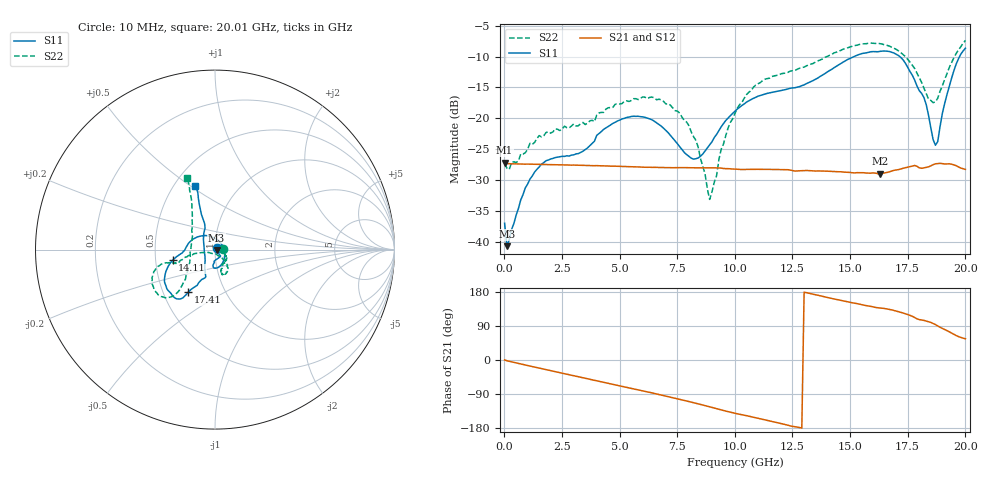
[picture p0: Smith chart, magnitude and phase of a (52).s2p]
! Hittite Microwave Corporation
! 2 Elizabeth Drive
! Chelmsford, MA 01824
! http://www.hittite.com
! Tel: 978-250-3343
! Fax: 978-250-3373
! Device:  HMC424LP3
! Description: 0.5 dB GaAs MMIC 6-Bit Digital Attenuator
! Frequency:  DC -  13.00 GHz
! Package:  LP3  - 3x3 mm Quad Flatpack No-Lead (QFN) Plastic Package: 16 pin
! Ports:  2 RF, 7 DC
!  Pad  1  = Ground
!  Pad  2  = RF IN  =  Port 1
!  Pad  3  = Ground
!  Pad  4  = V6
!  Pad  5  = V5
!  Pad  6  = V4
!  Pad  7  = V3
!  Pad  8  = V2
!  Pad  9  = V1
!  Pad 10  = Ground
!  Pad 11  = RF OUT  = Port 2
!  Pad 12  = Ground
!  Pad 15  = VEE
! Control:  -5 Volt control voltage
! State:  50
! Attenuation:  25.0 dB
! Voltages:  Vdd = -5.00 Volts  Idd =  -2.390 mA
!  V1  = 0.00 Volts  I1  =  29.0 uA
!  V2  = -5.00 Volts  I2  =  -1.0 uA
!  V3  = 0.00 Volts  I3  =  30.0 uA
!  V4  = 0.00 Volts  I4  =  30.0 uA
!  V5  = -5.00 Volts  I5  =  -1.0 uA
!  V6  = -5.00 Volts  I6  =  -1.0 uA
! Data:  The device was measured on evaluation board 105354-1.
!  Data was collected using a calibrated network analyzer.
!  The evaluation circuit board was modeled and simulated.  This was use
!  to removed the evaluation board circuit from the measured data.
!  The reference plane is the edge of the package pin.
! Misc:  Lot xxxx, Unit 1
!  Application 20120001, Data collected in Application 20090083
! Date Measured:  2009-09-15
! Date:  2012-05-14  MJV
! Note:
!  Hittite supplies this data as a sample of measured data at the package pin
!  for this product.  Your particular data for this product may vary.
!  Data was taken at 25 degrees C.
!  Hittite reserves the right to change this data at anytime.
# GHz S MA R 50
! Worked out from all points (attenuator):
!   201 points, 10 MHz to 20.01 GHz, reference 50 ohm
!   highest |S21| = -27.18 dB at 10 MHz (marker M1); lowest = -29.0 dB at 16.31 GHz (marker M2)
!   lowest |S11| = -40.7 dB at 110 MHz (marker M3), VSWR 1.02, Z = 50.9 - j0.196 ohm
!   |S11| at or under -10 dB: start of sweep to 15.18 GHz; 17.16 GHz to 19.76 GHz (2.6 GHz wide, 14.1 % of centre)
!   |S22| runs from -33.1 to -7.4 dB; largest |S21 - S12| = 0.0023
!   S11 on the Smith chart (normalised r, x): 10 MHz: 1.02, +0.01; 14.11 GHz: 0.61, -0.08; 17.41 GHz: 0.67, -0.34; 20.01 GHz: 0.64, +0.52
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0.01  0.01419 29.4  0.04377 0.1  0.04163 -0.9  0.04303 6.6
0.11  0.009263 -12.0  0.04304 -2.0  0.04306 -2.0  0.03955 0.7
0.71  0.02189 -45.6  0.04273 -10.4  0.04268 -10.5  0.05162 -21.2
1.31  0.03676 -48.6  0.04249 -18.6  0.0425 -18.7  0.06393 -30.6
3.41  0.05423 -80.1  0.04167 -46.9  0.04165 -47.0  0.09268 -54.2
5.11  0.09902 -95.3  0.04087 -69.6  0.04084 -69.6  0.1318 -75.0
6.71  0.08918 -65.2  0.04014 -90.9  0.04001 -91.0  0.143 -63.4
8.01  0.04933 6.9  0.03995 -109.6  0.03981 -109.7  0.08729 -48.1
8.41  0.04785 44.8  0.03985 -115.6  0.03973 -115.6  0.05868 -48.3
8.91  0.06111 87.7  0.03985 -123.6  0.03976 -123.5  0.02213 -102.1
9.41  0.08543 116.7  0.03966 -131.8  0.03956 -131.9  0.05612 -159.9
10.01  0.1142 139.8  0.03891 -140.5  0.03888 -140.4  0.11 -169.0
11.21  0.1551 170.0  0.03868 -156.6  0.03856 -156.5  0.2024 -162.6
13.41  0.2026 -171.5  0.03762 173.4  0.03749 173.4  0.2783 -164.7
14.11  0.2434 -165.8  0.03735 163.7  0.03719 163.7  0.3232 -163.9
16.31  0.3483 -133.5  0.03563 137.4  0.03555 137.3  0.402 -140.1
16.71  0.3473 -127.7  0.03695 133.6  0.03691 133.7  0.3841 -135.6
17.41  0.2784 -122.1  0.03997 121.9  0.03986 122.0  0.3158 -131.2
18.21  0.1474 -111.4  0.03978 104.5  0.03971 104.6  0.1761 -147.3
18.71  0.06068 -167.2  0.04291 93.4  0.0427 93.4  0.1361 163.5
19.51  0.2429 109.9  0.04202 67.7  0.04211 67.6  0.3094 115.1
20.01  0.3693 107.6  0.03867 56.0  0.03872 55.7  0.4266 111.5
